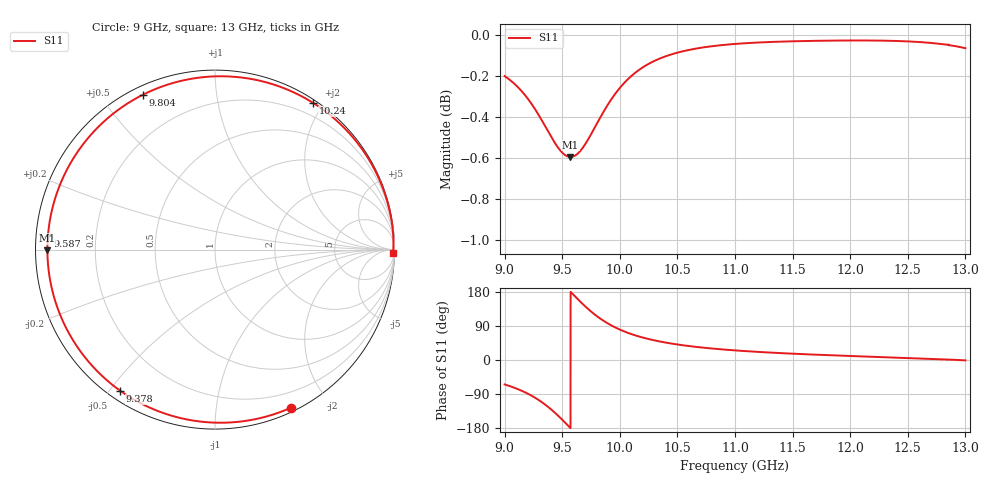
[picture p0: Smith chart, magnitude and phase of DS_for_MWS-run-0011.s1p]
! TOUCHSTONE file generated by CST DESIGN STUDIO
! Date and time: Tue Feb  4 13:16:10 2025
! Project name: C:\Work\MatlabApps\UnitCellOptimizationMatlab\CST\unitcell.cst
! Tree item: Tasks\Sweep1\SPara1\S-Parameters
! Header version: 2024
! Port assignment regex: !\s*Touchstone port\s*([0-9]+)\s*=\s*(CST MWS port|CST DES external port|CST DES block port)\s*(.+)\s* \(\"(.*)\"\)(\s*mode\s*([0-9]+))?.*
! Touchstone port assignment:
! Touchstone port 1 = CST DES external port 1 ("")
# GHz S MA R 50
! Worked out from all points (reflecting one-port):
!   4001 points, 9 GHz to 13 GHz, reference 50 ohm
!   lowest |S11| = -0.6 dB at 9.572 GHz (marker M1), VSWR 29.23, Z = 1.71 - j0.078 ohm
!   phase of S11 starts at -64 deg and turns -296 deg over the sweep
!   S11 on the Smith chart (normalised r, x): 9 GHz: 0.04, -1.58; 9.378 GHz: 0.03, -0.53; 9.587 GHz: 0.03, +0.04; 9.804 GHz: 0.03, +0.64; 10.24 GHz: 0.04, +1.87; 13 GHz: open
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9  0.9771 -64.5
9.046  0.975 -69.0
9.114  0.9711 -76.7
9.23  0.9623 -93.5
9.309  0.9546 -108.3
9.378  0.9472 -123.9
9.438  0.9411 -139.5
9.5  0.9361 -157.5
9.537  0.9344 -168.9
9.572  0.9338 -179.8
9.587  0.9339 175.5
9.641  0.9359 158.7
9.702  0.9407 140.9
9.752  0.9459 127.5
9.804  0.9518 115.0
9.846  0.9564 106.0
9.892  0.9612 97.2
10  0.9706 80.3
10.111  0.9777 67.3
10.236  0.9833 56.3
10.358  0.987 48.2
10.5  0.99 40.9
10.72  0.9928 32.7
11  0.9948 25.3
11.5  0.9963 16.7
12  0.9967 10.6
12.5  0.9962 5.4
13  0.9924 -1.0
